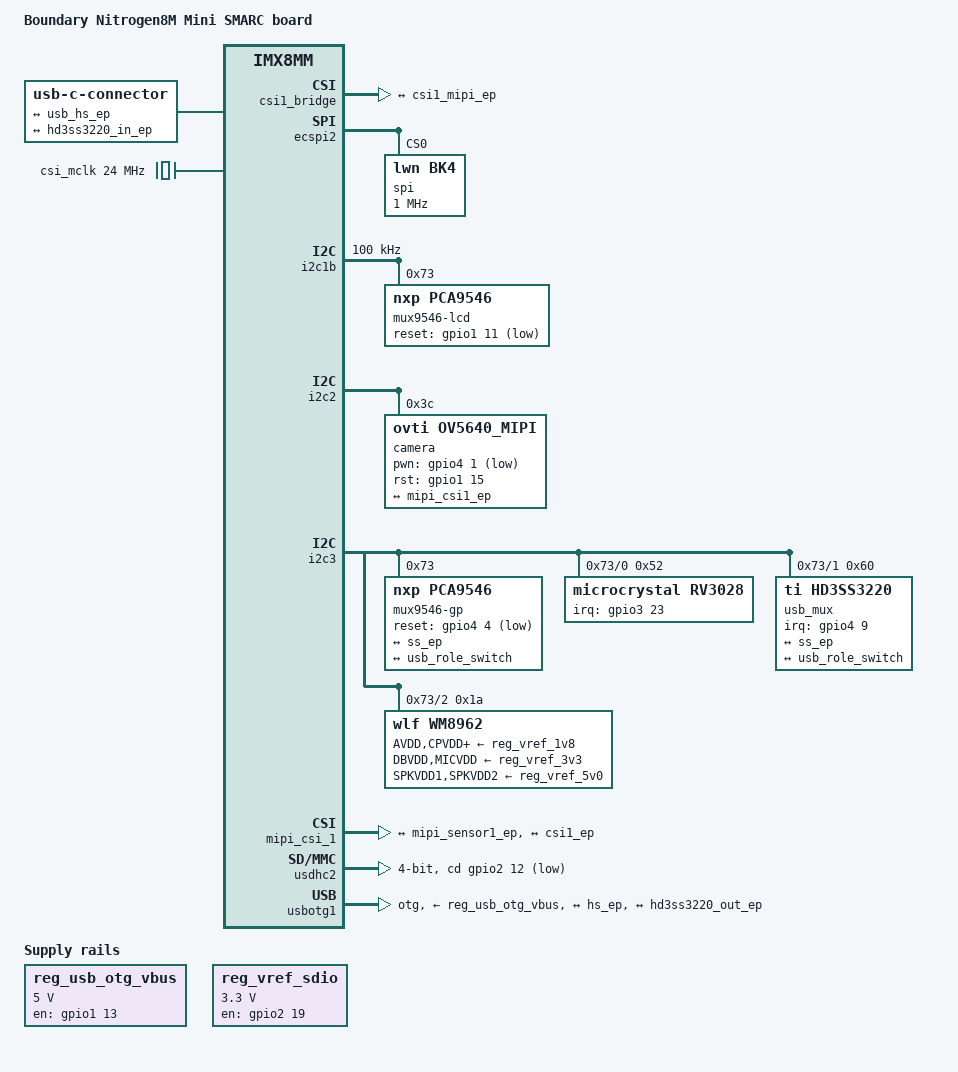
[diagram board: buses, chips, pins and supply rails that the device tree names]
// SPDX-License-Identifier: (GPL-2.0+ OR MIT)
/*
 * Copyright 2023 Boundary Devices
 */

/dts-v1/;

#include "imx8mm.dtsi"
#include "imx8mm-nitrogen_smarc-som.dtsi"

#include "../panel-m101nwwb.dtsi"

/ {
	model = "Boundary Nitrogen8M Mini SMARC board";
	compatible = "boundary,imx8mm-nitrogen_smarc", "fsl,imx8mm";

	aliases {
		backlight_mipi_alt = &backlight_mipi;
		fb_mipi = &fb_mipi;
		lcdif = &lcdif;
		mipi_dsi = &mipi_dsi;
		mipi = &fb_mipi;
		mipi_to_lvds_alt = &mipi_to_lvds_alt;
		pwm_mipi_alt = &pwm1;
		rtc0 = &rv3028;
		rtc1 = &snvs_rtc;
		t_mipi = &t_mipi;
		ts_lvds_ft5x06 = &ts_lvds_ft5x06;
		ts_lvds_goodix = &ts_lvds_goodix;
		ts_lvds_goodix2 = &ts_lvds_goodix2;
		usb_mux = &usb_mux;
	};

	chosen {
		stdout-path = &uart2;
	};

	connector {
		compatible = "usb-c-connector";
		label = "USB-C";
		data-role = "dual";

		ports {
			#address-cells = <1>;
			#size-cells = <0>;

			port@0 {
				reg = <0>;
				hs_ep: endpoint {
					remote-endpoint = <&usb_hs_ep>;
				};
			};

			port@1 {
				reg = <1>;
				ss_ep: endpoint {
					remote-endpoint = <&hd3ss3220_in_ep>;
				};
			};
		};
	};

	csi_mclk: csi-mclk {
		#clock-cells = <0>;
		clock-frequency = <24000000>;
		compatible = "fixed-clock";
	};

	reg_usb_otg_vbus: regulator-usb-otg-vbus {
		compatible = "regulator-fixed";
		pinctrl-names = "default";
		pinctrl-0 = <&pinctrl_reg_usbotg_vbus>;
		regulator-name = "usb_otg_vbus";
		regulator-min-microvolt = <5000000>;
		regulator-max-microvolt = <5000000>;
		gpio = <&gpio1 13 GPIO_ACTIVE_HIGH>;
		enable-active-high;
	};

	reg_vref_sdio: regulator-vref-sdio {
		compatible = "regulator-fixed-clock";
		pinctrl-names = "default";
		pinctrl-0 = <&pinctrl_reg_vref_sdio>;
		clocks = <&rv3028>;
		regulator-always-on;
		regulator-name = "vref-sdio-3v3";
		regulator-min-microvolt = <3300000>;
		regulator-max-microvolt = <3300000>;
		gpio = <&gpio2 19 GPIO_ACTIVE_HIGH>;
		enable-active-high;
	};

	sound-wm8962 {
		compatible = "fsl,imx-audio-wm8962";
		audio-codec = <&wm8962>;
		audio-cpu = <&sai2>;
		audio-routing =
			"Headphone Jack", "HPOUTL",
			"Headphone Jack", "HPOUTR",
			"Ext Spk", "SPKOUTL",
			"Ext Spk", "SPKOUTR",
			"AMIC", "MICBIAS",
			"IN1R", "AMIC",
			"IN2R", "AMIC",
			"IN3L", "AMIC",
			"IN3R", "AMIC";
		codec-master;
		model = "wm8962-audio";
		status = "okay";
	};
};

&csi1_bridge {
	fsl,mipi-mode;
	status = "okay";

	port {
		csi1_ep: endpoint {
			remote-endpoint = <&csi1_mipi_ep>;
		};
	};
};

&ecspi2 {
	spi@0 {
		reg = <0>;
		compatible = "lwn,bk4";
		spi-max-frequency = <1000000>;
	};
};

&i2c1b {
	clock-frequency = <100000>;
	status = "okay";

	mux9546-lcd@73 {
		compatible = "nxp,pca9546";
		pinctrl-names = "default";
		pinctrl-0 = <&pinctrl_mux9546_lcd>;
		reg = <0x73>;
		reset-gpios = <&gpio1 11 GPIO_ACTIVE_LOW>;
		#address-cells = <1>;
		#size-cells = <0>;

		i2c_lcd_a: i2c1b@0 {
			/* EDP0 */
			clock-frequency = <100000>;
			reg = <0>;
			#address-cells = <1>;
			#size-cells = <0>;
		};

		i2c_lcd_b: i2c1b@1 {
			/* EDP1 */
			clock-frequency = <100000>;
			reg = <1>;
			#address-cells = <1>;
			#size-cells = <0>;
		};

		i2c_lcd_c: i2c1b@2 {
			/* DSI0 */
			clock-frequency = <100000>;
			reg = <2>;
			#address-cells = <1>;
			#size-cells = <0>;
		};

		i2c_lcd_d: i2c1b@3 {
			/* DSI1 */
			clock-frequency = <100000>;
			reg = <3>;
			#address-cells = <1>;
			#size-cells = <0>;
		};
	};
};

&i2c2 {
	camera@3c {
		compatible = "ovti,ov5640_mipi";
		clocks = <&csi_mclk>;
		clock-names = "csi_mclk";
		csi_id = <0>;
		mclk = <24000000>;
		mclk_source = <0>;
		pwn-gpios = <&gpio4 1 GPIO_ACTIVE_LOW>;
		rst-gpios = <&gpio1 15 GPIO_ACTIVE_HIGH>;
		reg = <0x3c>;
		status = "okay";

		port {
			mipi_sensor1_ep: endpoint {
				remote-endpoint = <&mipi_csi1_ep>;
			};
		};
	};
};

&i2c3 {
	mux9546-gp@73 {
		compatible = "nxp,pca9546";
		reg = <0x73>;
		reset-gpios = <&gpio4 4 GPIO_ACTIVE_LOW>;
		#address-cells = <1>;
		#size-cells = <0>;

		i2c_gp_a: i2c3@0 {
			/* RTC */
			clock-frequency = <100000>;
			reg = <0>;
			#address-cells = <1>;
			#size-cells = <0>;
		};

		i2c_gp_b: i2c3@1 {
			/* USB C */
			clock-frequency = <100000>;
			reg = <1>;
			#address-cells = <1>;
			#size-cells = <0>;
		};

		i2c_gp_c: i2c3@2 {
			/* audio */
			clock-frequency = <100000>;
			reg = <2>;
			#address-cells = <1>;
			#size-cells = <0>;
		};

		i2c_gp_d: i2c3@3 {
			/* pcie */
			clock-frequency = <100000>;
			reg = <3>;
			#address-cells = <1>;
			#size-cells = <0>;
		};
	};
};

&i2c4 {
	ts_lvds_ft5x06: touchscreen@38 {
		compatible = "edt,ft5x06-ts";
		interrupts-extended = <&gpio3 22 IRQ_TYPE_EDGE_FALLING>;
		pinctrl-names = "default";
		pinctrl-0 = <&pinctrl_ts_lvds_ft5x06>;
		reg = <0x38>;
		wakeup-gpios = <&gpio3 22 GPIO_ACTIVE_LOW>;
		status = "disabled";
	};

	ts_lvds_goodix: touchscreen@14 {
		compatible = "goodix,gt9271";
		esd-recovery-timeout-ms = <2000>;
		interrupts-extended = <&gpio3 22 IRQ_TYPE_LEVEL_HIGH>;
		irq-gpios = <&gpio3 22 GPIO_ACTIVE_HIGH>;
		pinctrl-names = "default";
		pinctrl-0 = <&pinctrl_ts_lvds_gt911>;
		reg = <0x14>;
		reset-gpios = <&gpio1 10 GPIO_ACTIVE_HIGH>;
		status = "disabled";
	};

	ts_lvds_goodix2: touchscreen@5d {
		compatible = "goodix,gt9271";
		esd-recovery-timeout-ms = <2000>;
		interrupts-extended = <&gpio3 22 IRQ_TYPE_LEVEL_HIGH>;
		irq-gpios = <&gpio3 22 GPIO_ACTIVE_HIGH>;
		pinctrl-names = "default";
		pinctrl-0 = <&pinctrl_ts_lvds_gt911>;
		reg = <0x5d>;
		reset-gpios = <&gpio1 10 GPIO_ACTIVE_HIGH>;
		status = "disabled";
	};
};

&i2c_gp_a {
	rv3028: rtc@52 {
		pinctrl-names = "default";
		pinctrl-0 = <&pinctrl_rv3028>;
		backup-switchover-dsm;
		#clock-cells = <0>;
		compatible = "microcrystal,rv3028";
		reg = <0x52>;
		interrupts-extended = <&gpio3 23 IRQ_TYPE_LEVEL_LOW>;
		wakeup-source;
	};
};

&i2c_gp_b {
	usb_mux: hd3ss3220@60 {
		compatible = "ti,hd3ss3220";
		interrupts-extended = <&gpio4 9 IRQ_TYPE_LEVEL_LOW>;
		pinctrl-names = "default";
		pinctrl-0 = <&pinctrl_hd3ss3220>;
		reg = <0x60>;

		ports {
			#address-cells = <1>;
			#size-cells = <0>;

			port@0 {
				reg = <0>;
				hd3ss3220_in_ep: endpoint {
					remote-endpoint = <&ss_ep>;
				};
			};

			port@1 {
				reg = <1>;
				hd3ss3220_out_ep: endpoint {
					remote-endpoint = <&usb_role_switch>;
				};
			};
		};
	};
};

&i2c_gp_c {
	wm8962: codec@1a {
		#sound-dai-cells = <0>;
		AVDD-supply = <&reg_vref_1v8>;
		CPVDD-supply = <&reg_vref_1v8>;
		DBVDD-supply = <&reg_vref_3v3>;
		DCVDD-supply = <&reg_vref_1v8>;
		MICVDD-supply = <&reg_vref_3v3>;
		PLLVDD-supply = <&reg_vref_1v8>;
		SPKVDD1-supply = <&reg_vref_5v0>;
		SPKVDD2-supply = <&reg_vref_5v0>;
		clocks = <&clk IMX8MM_CLK_SAI2_ROOT>;
		compatible = "wlf,wm8962";
		gpio-cfg = <
			0x0000 /* n/c */
			0x0000 /* gpio2: */
			0x0000 /* gpio3: */
			0x0000 /* n/c */
			0x8081 /* gpio5:HP detect */
			0x8095 /* gpio6:Mic detect */
		>;
		reg = <0x1a>;
	};
};

&i2c_lcd_c {
	ts_mipi_ft5x06: touchscreen@38 {
		compatible = "edt,ft5x06-ts";
		interrupts-extended = <&gpio1 1 IRQ_TYPE_EDGE_FALLING>;
		pinctrl-names = "default";
		pinctrl-0 = <&pinctrl_ts_mipi_ft5x06>;
		reg = <0x38>;
		reset-gpios = <&gpio4 5 GPIO_ACTIVE_LOW>;
		wakeup-gpios = <&gpio1 1 GPIO_ACTIVE_LOW>;
		status = "disabled";
	};

	ts_mipi_goodix: touchscreen@5d {
		compatible = "goodix,gt9271";
		display = <&display_subsystem>;
		esd-recovery-timeout-ms = <2000>;
		interrupts-extended = <&gpio1 1 IRQ_TYPE_LEVEL_HIGH>;
		irq-gpios = <&gpio1 1 GPIO_ACTIVE_HIGH>;
		pinctrl-names = "default";
		pinctrl-0 = <&pinctrl_ts_mipi_gt911>;
		reg = <0x5d>;
		reset-gpios = <&gpio4 5 GPIO_ACTIVE_HIGH>;
		status = "disabled";
	};
};

&iomuxc {
	pinctrl-names = "default";
	pinctrl-0 = <&pinctrl_hog>;

	pinctrl_hd3ss3220: hd3ss3220grp {
		fsl,pins = <
			MX8MM_IOMUXC_SAI1_RXD7_GPIO4_IO9	0x1c0
		>;
	};

	pinctrl_hog: hoggrp {
		fsl,pins = <
			MX8MM_IOMUXC_SAI1_RXC_GPIO4_IO1		0x140
			MX8MM_IOMUXC_SAI1_RXD1_GPIO4_IO3	0x140
			MX8MM_IOMUXC_SAI1_RXD2_GPIO4_IO4	0x140
			MX8MM_IOMUXC_SAI1_RXD3_GPIO4_IO5	0x140
			MX8MM_IOMUXC_SAI1_RXD4_GPIO4_IO6	0x140
			MX8MM_IOMUXC_SAI1_RXD5_GPIO4_IO7	0x140
			MX8MM_IOMUXC_SAI1_RXD6_GPIO4_IO8	0x140
			MX8MM_IOMUXC_SAI1_RXFS_GPIO4_IO0	0x140
			MX8MM_IOMUXC_SAI1_TXD1_GPIO4_IO13	0x140
			MX8MM_IOMUXC_SAI1_TXD2_GPIO4_IO14	0x140
			MX8MM_IOMUXC_SAI1_TXD3_GPIO4_IO15	0x140
			MX8MM_IOMUXC_SAI1_TXD4_GPIO4_IO16	0x140
			MX8MM_IOMUXC_SAI1_TXD5_GPIO4_IO17	0x140
			MX8MM_IOMUXC_SAI1_TXD6_GPIO4_IO18       0x140
			MX8MM_IOMUXC_SAI1_TXD7_GPIO4_IO19	0x140
			MX8MM_IOMUXC_SAI2_RXC_GPIO4_IO22	0x140
			MX8MM_IOMUXC_SAI3_MCLK_GPIO5_IO2	0x140
			MX8MM_IOMUXC_SAI3_RXFS_GPIO4_IO28	0x140
			MX8MM_IOMUXC_SAI5_RXD0_GPIO3_IO21	0x140
			MX8MM_IOMUXC_SAI5_RXD3_GPIO3_IO24	0x140
			MX8MM_IOMUXC_SAI5_RXFS_GPIO3_IO19	0x140
		>;
	};

	pinctrl_mux9546_lcd: mux9546-lcdgrp {
		fsl,pins = <
			MX8MM_IOMUXC_GPIO1_IO11_GPIO1_IO11	0x140
		>;
	};

	pinctrl_reg_usbotg_vbus: reg-usbotg-vbusgrp {
		fsl,pins = <
			MX8MM_IOMUXC_GPIO1_IO13_GPIO1_IO13	0x140
		>;
	};

	pinctrl_reg_vref_sdio: reg-vref-sdiogrp {
		fsl,pins = <
			MX8MM_IOMUXC_SD2_RESET_B_GPIO2_IO19	0x100
		>;
	};

	pinctrl_rv3028: rv3028grp {
		fsl,pins = <
			MX8MM_IOMUXC_SAI5_RXD2_GPIO3_IO23	0x140
		>;
	};

	pinctrl_ts_lvds_ft5x06: ts-lvds-ft5x06grp {
		fsl,pins = <
			MX8MM_IOMUXC_SAI5_RXD1_GPIO3_IO22	0x140
		>;
	};

	pinctrl_ts_lvds_gt911: ts-lvds-gt911grp {
		fsl,pins = <
			MX8MM_IOMUXC_SAI5_RXD1_GPIO3_IO22	0x140
		>;
	};

	pinctrl_ts_mipi_ft5x06: ts-mipi-ft5x06grp {
		fsl,pins = <
			MX8MM_IOMUXC_GPIO1_IO01_GPIO1_IO1	0x140
		>;
	};

	pinctrl_ts_mipi_gt911: ts-mipi-gt911grp {
		fsl,pins = <
			MX8MM_IOMUXC_GPIO1_IO01_GPIO1_IO1	0x140
		>;
	};

	pinctrl_usdhc2: usdhc2grp {
		fsl,pins = <
			MX8MM_IOMUXC_SD2_CLK_USDHC2_CLK	0x190
			MX8MM_IOMUXC_SD2_CMD_USDHC2_CMD	0x1d0
			MX8MM_IOMUXC_SD2_DATA0_USDHC2_DATA0	0x1d0
			MX8MM_IOMUXC_SD2_DATA1_USDHC2_DATA1	0x1d0
			MX8MM_IOMUXC_SD2_DATA2_USDHC2_DATA2	0x1d0
			MX8MM_IOMUXC_SD2_DATA3_USDHC2_DATA3	0x1d0
			MX8MM_IOMUXC_SD2_CD_B_GPIO2_IO12	0x1c4
		>;
	};

	pinctrl_usdhc2_100mhz: usdhc2grp100mhz {
		fsl,pins = <
			MX8MM_IOMUXC_SD2_CLK_USDHC2_CLK	0x194
			MX8MM_IOMUXC_SD2_CMD_USDHC2_CMD	0x1d4
			MX8MM_IOMUXC_SD2_DATA0_USDHC2_DATA0	0x1d4
			MX8MM_IOMUXC_SD2_DATA1_USDHC2_DATA1	0x1d4
			MX8MM_IOMUXC_SD2_DATA2_USDHC2_DATA2	0x1d4
			MX8MM_IOMUXC_SD2_DATA3_USDHC2_DATA3	0x1d4
		>;
	};

	pinctrl_usdhc2_200mhz: usdhc2grp200mhz {
		fsl,pins = <
			MX8MM_IOMUXC_SD2_CLK_USDHC2_CLK	0x196
			MX8MM_IOMUXC_SD2_CMD_USDHC2_CMD	0x1d6
			MX8MM_IOMUXC_SD2_DATA0_USDHC2_DATA0	0x1d6
			MX8MM_IOMUXC_SD2_DATA1_USDHC2_DATA1	0x1d6
			MX8MM_IOMUXC_SD2_DATA2_USDHC2_DATA2	0x1d6
			MX8MM_IOMUXC_SD2_DATA3_USDHC2_DATA3	0x1d6
		>;
	};
};

&mipi_csi_1 {
	#address-cells = <1>;
	#size-cells = <0>;
	status = "okay";

	port {
		mipi_csi1_ep: endpoint {
			csis-hs-settle = <13>;
			csis-clk-settle = <2>;
			csis-wclk;
			data-lanes = <2>;
			remote-endpoint = <&mipi_sensor1_ep>;
		};

		csi1_mipi_ep: endpoint@2 {
			remote-endpoint = <&csi1_ep>;
		};
	};
};

&usdhc2 {
	bus-width = <4>;
	cd-gpios = <&gpio2 12 GPIO_ACTIVE_LOW>;
	pinctrl-names = "default", "state_100mhz", "state_200mhz";
	pinctrl-0 = <&pinctrl_usdhc2>;
	pinctrl-1 = <&pinctrl_usdhc2_100mhz>;
	pinctrl-2 = <&pinctrl_usdhc2_200mhz>;
	status = "okay";
#if 0 /* for M.2 cards only */
	vmmc-supply = <&reg_vref_sdio>;
#endif
};

&usbotg1 {
	dr_mode = "otg";
	disable-over-current;
	usb-role-switch;
	vbus-supply = <&reg_usb_otg_vbus>;
	status = "okay";

	ports {
		#address-cells = <1>;
		#size-cells = <0>;

		port@0 {
			reg = <0>;
			usb_hs_ep: endpoint {
				remote-endpoint = <&hs_ep>;
			};
		};

		port@1 {
			reg = <1>;
			usb_role_switch: endpoint {
				remote-endpoint = <&hd3ss3220_out_ep>;
			};
		};
	};
};
